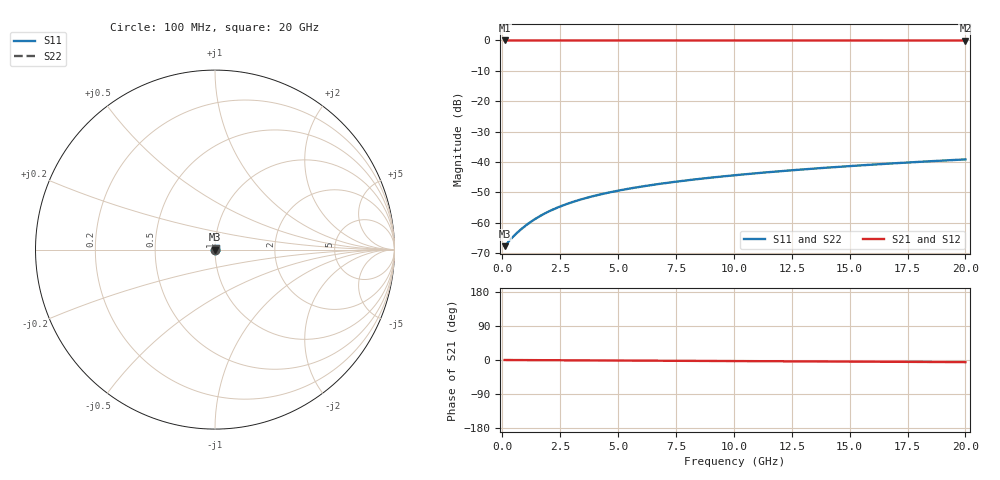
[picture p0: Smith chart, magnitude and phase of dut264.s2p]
! Touchstone file exported from HFSS 2026.1.0
!  File:  C:/ffzhzh/LocalFiles/Ansys_Project_Files/temp_train_TSV_264_1782993165_45328.aedt
!  Generated:  07:54:29 PM Jul  2, 2026
!  Design:  TSV
!  Project:  temp_train_TSV_264_1782993165_45328
! Variables:
!  h_bsmrdl = 2um
!  h_ox = 20um
!  h_rdl = 5um
!  h_sub = 57.99um
!  h_tmrdl = 5um
!  h_tsv = 57.99um
!  h_via = 3um
!  l_bsmrdl = 300um
!  l_sub = 408.56um
!  l_tmrdl = 200um
!  m_sub = 200um
!  pitch = 20um
!  r_tsv = 4.28um
!  s_tmrdl = 10um
!  w_bsmrdl = 18um
!  w_sub = 500um
!  w_tmrdl = 12um
!  x_tsv_center1 = 206um
!  x_tsv_center2 = 524um
!  x_tsv_center3 = 736um
!  x_tsv_center4 = 1054um
!  x_tsv_center5 = 1266um
!  x_tsv_center6 = 1584um
# GHz S MA R 50.000000
! Terminal data exported
! Port[1] = TSV1_1_T1
! Port[2] = TSV1_1_T2
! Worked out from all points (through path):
!   200 points, 100 MHz to 20 GHz, reference 50 ohm
!   highest |S21| = 0.00 dB at 100 MHz (marker M1); lowest = 0.0 dB at 20 GHz (marker M2)
!   lowest |S11| = -67.7 dB at 100 MHz (marker M3), VSWR 1.00, Z = 50 + j0.00948 ohm
!   |S11| at or under -10 dB: start of sweep to end of sweep
!   |S22| runs from -67.7 to -39.2 dB; largest |S21 - S12| = 4.1e-15
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0.1  0.0004106 13.3  0.9996 -0.0  0.9996 -0.0  0.0004106 13.3
! Gamma 0 0 0 0
! Port Impedance 50 0 50 0
0.4  0.0005556 36.2  0.9996 -0.1  0.9996 -0.1  0.0005556 36.2
0.5  0.0006078 40.7  0.9995 -0.1  0.9995 -0.1  0.0006078 40.7
0.7  0.000716 47.9  0.9995 -0.2  0.9995 -0.2  0.000716 47.9
0.9  0.0008307 53.4  0.9995 -0.3  0.9995 -0.3  0.0008307 53.4
1.1  0.0009511 57.5  0.9995 -0.3  0.9995 -0.3  0.0009511 57.5
1.3  0.001076 60.6  0.9995 -0.4  0.9995 -0.4  0.001076 60.6
1.5  0.001203 63.0  0.9995 -0.4  0.9995 -0.4  0.001203 63.0
1.9  0.001461 66.3  0.9994 -0.6  0.9994 -0.6  0.001461 66.3
2.4  0.001785 68.8  0.9994 -0.7  0.9994 -0.7  0.001785 68.8
2.9  0.002104 70.2  0.9993 -0.8  0.9993 -0.8  0.002104 70.2
3.5  0.002478 71.3  0.9992 -1.0  0.9992 -1.0  0.002478 71.3
4.2  0.002901 72.0  0.9992 -1.2  0.9992 -1.2  0.002901 72.0
5  0.003366 72.4  0.9991 -1.4  0.9991 -1.4  0.003366 72.4
5.8  0.003815 72.7  0.999 -1.7  0.999 -1.7  0.003815 72.7
6.8  0.004358 73.0  0.9989 -1.9  0.9989 -1.9  0.004358 73.0
8.3  0.005148 73.4  0.9987 -2.4  0.9987 -2.4  0.005148 73.4
10.1  0.006074 73.8  0.9986 -2.9  0.9986 -2.9  0.006074 73.8
11.7  0.006887 74.1  0.9985 -3.3  0.9985 -3.3  0.006887 74.1
13.4  0.007743 74.2  0.9984 -3.8  0.9984 -3.8  0.007743 74.2
16.7  0.009391 74.3  0.9982 -4.7  0.9982 -4.7  0.009391 74.3
20  0.01102 74.0  0.998 -5.6  0.998 -5.6  0.01102 74.0
